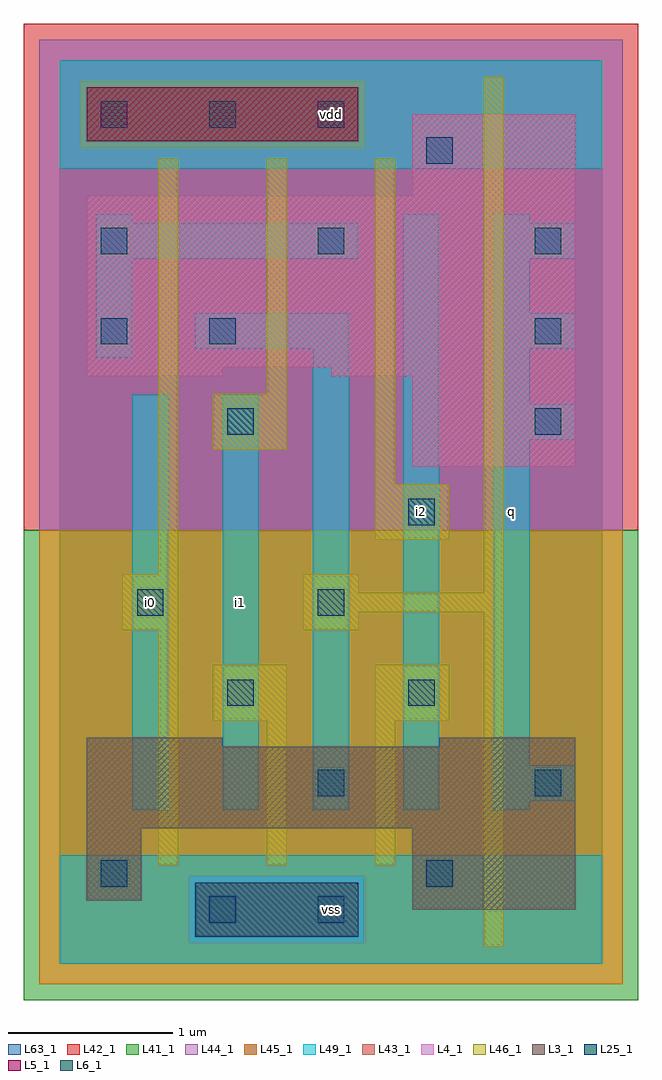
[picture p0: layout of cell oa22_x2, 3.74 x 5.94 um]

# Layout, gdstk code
import gdstk
lib = gdstk.Library(unit=1e-6, precision=1e-09)
def R(c, l, rs):  # rectangles x0, y0, x1, y1
    for r in rs: c.add(gdstk.rectangle(r[:2], r[2:], *l))
def A(c, l, x, y, w, h, nx, ny, dx, dy):  # array of equal rectangles
    R(c, l, [(x+i*dx, y+j*dy, x+i*dx+w, y+j*dy+h) for i in range(nx) for j in range(ny)])
L3_1 = (3, 1)
L4_1 = (4, 1)
L5_1 = (5, 1)
L6_1 = (6, 1)
L25_1 = (25, 1)
L41_1 = (41, 1)
L42_1 = (42, 1)
L43_1 = (43, 1)
L44_1 = (44, 1)
L45_1 = (45, 1)
L46_1 = (46, 1)
L49_1 = (49, 1)
L63_1 = (63, 1)

oa22_x2 = lib.new_cell('oa22_x2')
R(oa22_x2, L3_1, [(2.145,0.33,3.135,0.825), (0.165,0.385,0.495,0.825), (0.165,0.825,3.135,1.32), (0.165,1.32,0.99,1.375), (2.31,1.32,3.135,1.375)])
R(oa22_x2, L4_1, [(2.145,3.025,3.135,3.575), (0.165,3.575,0.99,3.63), (1.65,3.575,3.135,3.63), (0.165,3.63,3.135,4.675), (2.145,4.675,3.135,5.17)])
R(oa22_x2, L5_1, [(0.165,5.005,1.815,5.335)])
R(oa22_x2, L6_1, [(0.825,0.165,1.815,0.495)])
A(oa22_x2, L25_1, 0.25, 4.32, 0.16, 0.16, 3, 1, 1.32, 0)
A(oa22_x2, L25_1, 0.25, 5.09, 0.16, 0.16, 3, 1, 0.66, 0)
R(oa22_x2, L25_1, [(0.91,0.25,1.07,0.41), (1.57,0.25,1.73,0.41), (0.25,0.47,0.41,0.63), (2.23,0.47,2.39,0.63), (1.57,1.02,1.73,1.18), (2.89,1.02,3.05,1.18), (1.02,1.57,1.18,1.73), (2.12,1.57,2.28,1.73), (0.47,2.12,0.63,2.28), (1.57,2.12,1.73,2.28), (2.12,2.67,2.28,2.83), (1.02,3.22,1.18,3.38), (2.89,3.22,3.05,3.38), (0.25,3.77,0.41,3.93), (0.91,3.77,1.07,3.93), (2.89,3.77,3.05,3.93), (2.23,4.87,2.39,5.03)])
R(oa22_x2, L41_1, [(-0.22,-0.22,3.52,2.64)])
R(oa22_x2, L42_1, [(-0.22,2.64,3.52,5.72)])
R(oa22_x2, L43_1, [(0.825,0.165,1.815,0.495), (2.145,0.33,3.135,0.825), (0.165,0.385,0.495,0.825), (0.165,0.825,3.135,1.32), (0.165,1.32,0.99,1.375), (2.31,1.32,3.135,1.375), (2.145,3.025,3.135,3.575), (0.165,3.575,0.99,3.63), (1.65,3.575,3.135,3.63), (0.165,3.63,3.135,4.675), (2.145,4.675,3.135,5.17), (0.165,5.005,1.815,5.335)])
R(oa22_x2, L44_1, [(0.785,0.125,1.855,0.535), (-0.125,2.64,3.425,4.965), (-0.125,4.965,0.125,5.375), (1.855,4.965,3.425,5.375), (-0.125,5.375,3.425,5.625)])
R(oa22_x2, L45_1, [(-0.125,-0.125,3.425,0.125), (-0.125,0.125,0.785,0.535), (1.855,0.125,3.425,0.535), (-0.125,0.535,3.425,2.64), (0.125,4.965,1.855,5.375)])
R(oa22_x2, L46_1, [(2.58,0.105,2.7,2.14), (0.6,0.6,0.72,2.03), (1.26,0.6,1.38,1.48), (1.92,0.6,2.04,1.48), (0.93,1.48,1.38,1.82), (1.92,1.48,2.37,1.82), (0.38,2.03,0.72,2.37), (1.48,2.03,1.82,2.14), (1.48,2.14,2.7,2.26), (1.48,2.26,1.82,2.37), (2.58,2.26,2.7,5.395), (0.6,2.37,0.72,4.9), (1.92,2.58,2.37,2.92), (1.92,2.92,2.04,4.9), (0.93,3.13,1.38,3.47), (1.26,3.47,1.38,4.9)])
A(oa22_x2, L49_1, 2.64, 3.19, 0.495, 0.22, 1, 3, 0, 0.55)
R(oa22_x2, L49_1, [(0,0,3.3,0.66), (0.44,0.935,0.66,3.465), (0.99,0.935,1.21,3.465), (1.54,0.935,1.76,3.74), (2.09,0.935,2.31,4.565), (2.64,0.935,2.86,0.99), (2.64,0.99,3.135,1.21), (2.64,1.21,2.86,3.19), (2.64,3.41,2.86,3.74), (0.22,3.685,0.44,4.29), (0.825,3.74,1.76,3.96), (2.64,3.96,2.86,4.29), (0.22,4.29,1.815,4.51), (0.22,4.51,0.44,4.565), (2.64,4.51,2.86,4.565), (0,4.84,3.3,5.5)])
R(oa22_x2, L63_1, [(0,0,3.3,5.5)])
oa22_x2.add(gdstk.Label('i0', (0.55,2.2), layer=49, texttype=1))
oa22_x2.add(gdstk.Label('i1', (1.1,2.2), layer=49, texttype=1))
oa22_x2.add(gdstk.Label('vss', (1.65,0.33), layer=49, texttype=1))
oa22_x2.add(gdstk.Label('i2', (2.2,2.75), layer=49, texttype=1))
oa22_x2.add(gdstk.Label('vdd', (1.65,5.17), layer=49, texttype=1))
oa22_x2.add(gdstk.Label('q', (2.75,2.75), layer=49, texttype=1))

lib.write_gds('oa22_x2.gds')
